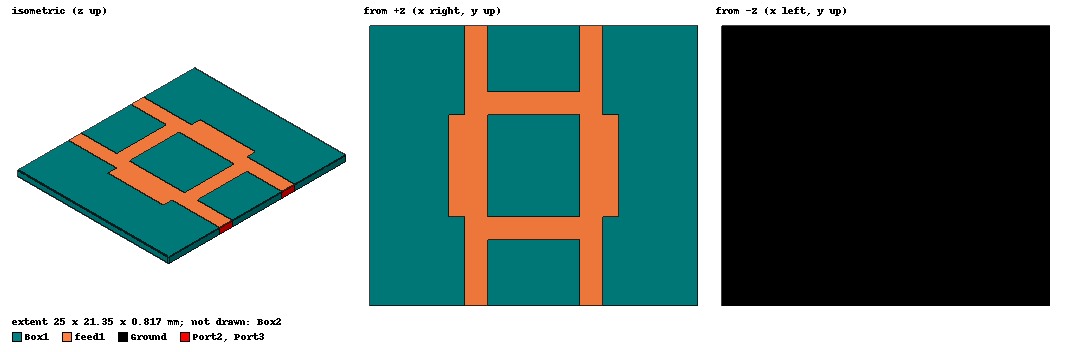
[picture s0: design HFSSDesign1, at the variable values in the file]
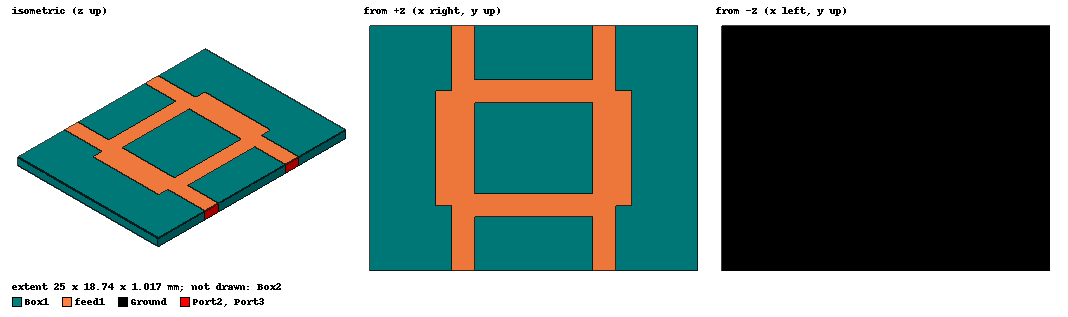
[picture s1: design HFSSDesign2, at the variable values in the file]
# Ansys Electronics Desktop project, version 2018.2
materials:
  vacuum: permittivity=1
  Rogers RO4003 (tm): permittivity=3.55 dielectric_loss_tangent=0.0027
  copper: permeability=0.999991 conductivity=58000000
  FR4_epoxy: permittivity=4.4 dielectric_loss_tangent=0.02
  pec: conductivity=1e+30
  air: permittivity=1.0006 permeability=1.0000004

design HFSSDesign1 (HFSS, DrivenModal, model units mm)
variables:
  Hybrid_W = 25mm
  Hybrid_L = 2*Hybrid_L_feed+2*Hybrid_W_50+Hybrid_L_35
  H = 0.8mm
  Hybrid_L_feed = 5mm
  Hybrid_W_50 = 1.7645mm
  Hybrid_W_35 = 2.985mm
  Hybrid_L_35 = 7.82mm
  Hybrid_L_50 = 7.05mm
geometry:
  Box1 [Rogers RO4003 (tm)] = box(corner=(0mm, 0mm, 0mm), size=(Hybrid_W, Hybrid_L, H))
  Ground [Rogers RO4003 (tm)] = object_from(Box1.face(-z))
  feed1 [copper] = rectangle(corner=(Hybrid_W/2-Hybrid_L_50/2, 0mm, H), x_size=-Hybrid_W_50, y_size=Hybrid_L_feed+Hybrid_W_50)
  feed2 = rectangle(corner=(Hybrid_W/2-Hybrid_L_50/2, Hybrid_L, H), x_size=-Hybrid_W_50, y_size=-Hybrid_L_feed-Hybrid_W_50)
  feed3 = rectangle(corner=(Hybrid_W/2+Hybrid_L_50/2, Hybrid_L, H), x_size=Hybrid_W_50, y_size=-Hybrid_L_feed-Hybrid_W_50)
  feed4 = rectangle(corner=(Hybrid_W/2+Hybrid_L_50/2, 0mm, H), x_size=Hybrid_W_50, y_size=Hybrid_L_feed+Hybrid_W_50)
  branch12 = rectangle(corner=(Hybrid_W/2-Hybrid_L_50/2, Hybrid_L_feed+Hybrid_W_50, H), x_size=-Hybrid_W_35, y_size=Hybrid_L_35)
  branch34 = rectangle(corner=(Hybrid_W/2+Hybrid_L_50/2, Hybrid_L_feed+Hybrid_W_50, H), x_size=Hybrid_W_35, y_size=Hybrid_L_35)
  branch41 = rectangle(corner=(Hybrid_W/2-Hybrid_L_50/2, Hybrid_L_feed, H), x_size=Hybrid_L_50, y_size=Hybrid_W_50)
  branch23 = rectangle(corner=(Hybrid_W/2-Hybrid_L_50/2, Hybrid_L_feed+Hybrid_L_35+Hybrid_W_50, H), x_size=Hybrid_L_50, y_size=Hybrid_W_50)
  Port1 = rectangle(corner=(Hybrid_W/2-Hybrid_L_50/2, 0mm, H), z_size=-H, x_size=-Hybrid_W_50)
  Port4 = rectangle(corner=(Hybrid_W/2+Hybrid_L_50/2, 0mm, H), z_size=-H, x_size=Hybrid_W_50)
  Port2 = rectangle(corner=(Hybrid_W/2-Hybrid_L_50/2, Hybrid_L, H), z_size=-H, x_size=-Hybrid_W_50)
  Port3 = rectangle(corner=(Hybrid_W/2+Hybrid_L_50/2, Hybrid_L, H), z_size=-H, x_size=Hybrid_W_50)
  Box2 [vacuum] = box(corner=(-10mm, -10mm, -10mm), size=(20mm+Hybrid_W, 20mm+Hybrid_L, 20mm))
  feed1.unite(feed2, feed3, feed4, branch12, branch23, branch34, branch41)
  feed1.thicken(-0.017mm)
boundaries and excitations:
  PerfE1: Perfect E Objects=Ground
  Rad1: Radiation Objects=Box2
  1: Lumped Port Objects=Port1 Modes{Mode1{IntLine{middle of Port1.edge(z opposite corner) -> middle of Port1.edge(z at corner)} CharImp=Zpi RenormImp=50ohm}} Impedance=50ohm
  4: Lumped Port Objects=Port4 Modes{Mode1{IntLine{middle of Port4.edge(z opposite corner) -> middle of Port4.edge(z at corner)} CharImp=Zpi RenormImp=50ohm}} Impedance=50ohm
  2: Lumped Port Objects=Port2 Modes{Mode1{IntLine{middle of Port2.edge(z opposite corner) -> middle of Port2.edge(z at corner)} CharImp=Zpi RenormImp=50ohm}} Impedance=50ohm
  3: Lumped Port Objects=Port3 Modes{Mode1{IntLine{middle of Port3.edge(z opposite corner) -> middle of Port3.edge(z at corner)} CharImp=Zpi RenormImp=50ohm}} Impedance=50ohm
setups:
  Setup1: HfssDriven Frequency=5GHz MaxDeltaS=0.02 MaximumPasses=12 MinimumPasses=1 MinimumConvergedPasses=1 PercentRefinement=30 BasisOrder=1 PortAccuracy=2
    sweep Sweep: 4GHz to 6GHz step 0.01GHz; Type=Fast SaveFields
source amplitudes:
  1:1: 1W 0deg
  4:1, 2:1, 3:1: 0W 0deg
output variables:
  PortGainDiff = dB(S(2,1))-dB(S(3,1))
  phase_diff = abs(ang_deg(S(2,1))-ang_deg(S(3,1))-pi/2)
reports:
  S-Parameters: dB(S(1,1)), dB(S(2,1)), dB(S(3,1)), dB(S(4,1)) vs Freq on Setup1 : Sweep; markers MX1 at x=5e+09, MY1 at y=-14
  Port Gain Difference: abs(PortGainDiff) vs Freq on Setup1 : Sweep; markers m1 at 5GHz, MY1 at y=0.5
  Phase Error: phase_diff vs Freq on Setup1 : Sweep; markers MY1 at y=0.0349066

design HFSSDesign2 (HFSS, DrivenModal, model units mm)
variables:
  Hybrid_W = 25mm
  Hybrid_L = 2*Hybrid_L_feed+Hybrid_L_35
  H = 1mm
  Hybrid_L_feed = 5mm
  Hybrid_W_50 = 1.7645mm
  Hybrid_W_35 = 2.98mm
  Hybrid_L_35 = 8.74mm
  Hybrid_L_50 = 8.95mm
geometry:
  Box1 [Rogers RO4003 (tm)] = box(corner=(0mm, 0mm, 0mm), size=(Hybrid_W, Hybrid_L, H))
  Ground [Rogers RO4003 (tm)] = object_from(Box1.face(-z))
  feed1 [copper] = rectangle(corner=(Hybrid_W/2-Hybrid_L_50/2, 0mm, H), x_size=-Hybrid_W_50, y_size=Hybrid_L_feed)
  feed2 = rectangle(corner=(Hybrid_W/2-Hybrid_L_50/2, Hybrid_L, H), x_size=-Hybrid_W_50, y_size=-Hybrid_L_feed)
  feed3 = rectangle(corner=(Hybrid_W/2+Hybrid_L_50/2, Hybrid_L, H), x_size=Hybrid_W_50, y_size=-Hybrid_L_feed)
  feed4 = rectangle(corner=(Hybrid_W/2+Hybrid_L_50/2, 0mm, H), x_size=Hybrid_W_50, y_size=Hybrid_L_feed)
  branch12 = rectangle(corner=(Hybrid_W/2-Hybrid_L_50/2, Hybrid_L_feed, H), x_size=-Hybrid_W_35, y_size=Hybrid_L_35)
  branch34 = rectangle(corner=(Hybrid_W/2+Hybrid_L_50/2, Hybrid_L_feed, H), x_size=Hybrid_W_35, y_size=Hybrid_L_35)
  branch41 = rectangle(corner=(Hybrid_W/2-Hybrid_L_50/2, Hybrid_L_feed-Hybrid_W_50/2, H), x_size=Hybrid_L_50, y_size=Hybrid_W_50)
  branch23 = rectangle(corner=(Hybrid_W/2-Hybrid_L_50/2, Hybrid_L_feed+Hybrid_L_35-Hybrid_W_50/2, H), x_size=Hybrid_L_50, y_size=Hybrid_W_50)
  Port1 = rectangle(corner=(Hybrid_W/2-Hybrid_L_50/2, 0mm, H), z_size=-H, x_size=-Hybrid_W_50)
  Port4 = rectangle(corner=(Hybrid_W/2+Hybrid_L_50/2, 0mm, H), z_size=-H, x_size=Hybrid_W_50)
  Port2 = rectangle(corner=(Hybrid_W/2-Hybrid_L_50/2, Hybrid_L, H), z_size=-H, x_size=-Hybrid_W_50)
  Port3 = rectangle(corner=(Hybrid_W/2+Hybrid_L_50/2, Hybrid_L, H), z_size=-H, x_size=Hybrid_W_50)
  Box2 [vacuum] = box(corner=(-10mm, -10mm, -10mm), size=(20mm+Hybrid_W, 20mm+Hybrid_L, 20mm))
  feed1.unite(feed2, feed3, feed4, branch12, branch23, branch34, branch41)
  feed1.thicken(-0.017mm)
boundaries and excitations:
  PerfE1: Perfect E Objects=Ground
  Rad1: Radiation Objects=Box2
  1: Lumped Port Objects=Port1 Modes{Mode1{IntLine{middle of Port1.edge(z opposite corner) -> middle of Port1.edge(z at corner)} CharImp=Zpi RenormImp=50ohm}} Impedance=50ohm
  4: Lumped Port Objects=Port4 Modes{Mode1{IntLine{middle of Port4.edge(z opposite corner) -> middle of Port4.edge(z at corner)} CharImp=Zpi RenormImp=50ohm}} Impedance=50ohm
  2: Lumped Port Objects=Port2 Modes{Mode1{IntLine{middle of Port2.edge(z opposite corner) -> middle of Port2.edge(z at corner)} CharImp=Zpi RenormImp=50ohm}} Impedance=50ohm
  3: Lumped Port Objects=Port3 Modes{Mode1{IntLine{middle of Port3.edge(z opposite corner) -> middle of Port3.edge(z at corner)} CharImp=Zpi RenormImp=50ohm}} Impedance=50ohm
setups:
  Setup1: HfssDriven Frequency=5GHz MaxDeltaS=0.02 MaximumPasses=12 MinimumPasses=1 MinimumConvergedPasses=1 PercentRefinement=30 BasisOrder=1 PortAccuracy=2
    sweep Sweep: 4GHz to 6GHz step 0.01GHz; Type=Fast SaveFields
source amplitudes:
  1:1: 1W 0deg
  4:1, 2:1, 3:1: 0W 0deg
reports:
  XY Plot 1: dB(S(1,1)), dB(S(2,1)), dB(S(3,1)), dB(S(4,1)) vs Freq on Setup1 : Sweep; markers MX1 at x=5.002681e+09

design Circuit1 (Circuit)
options: SParamCircuitDef IntegrationMethod=FFT
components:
  A273 = MS_TRL(W=1.76772mm P=5mm)
  A1 = MS_TRL(W=1.76772mm P=5mm)
  A3 = MS_TRL(W=1.76772mm P=5mm)
  A4 = MS_TRL(W=1.76772mm P=5mm)
  A6 = MS_TRL(W=1.76772mm P=8.95112mm)
  A9 = MS_TRL(W=1.76772mm P=8.95112mm)
  A285 = MS_TRL(W=2.98223mm P=8.73787mm)
  A10 = MS_TRL(W=2.98223mm P=8.73787mm)
  A306 = MSTEEE_NX(W1=1.76772mm W3=1.76772mm W2=2.98223mm)
  A307 = MSTEEE_NX(W2=1.76772mm W3=1.76772mm W1=2.98223mm)
  A308 = MSTEEE_NX(W2=1.76772mm W3=1.76772mm W1=2.98223mm)
  A2 = MSTEEE_NX(W1=1.76772mm W3=1.76772mm W2=2.98223mm)
  port Port1 pnum=1 rz=50ohm iz=0ohm noisetemp=16.85 noisetemporig=16.85cel
  port Port2 pnum=2 rz=50ohm iz=0ohm noisetemp=16.85 noisetemporig=16.85cel
  port Port3 pnum=3 rz=50ohm iz=0ohm noisetemp=16.85 noisetemporig=16.85cel
  port Port4 pnum=4 rz=50ohm iz=0ohm noisetemp=16.85 noisetemporig=16.85cel
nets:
  net_50: A306.0, A273.1
  net_51: A285.0, A306.1
  net_52: A6.1, A306.2
  net_53: A285.1, A307.0
  net_54: A1.0, A307.1
  net_55: A9.1, A307.2
  net_56: A10.0, A308.0
  net_57: A4.1, A308.1
  net_58: A6.0, A308.2
  net_59: A3.0, A2.0
  net_60: A10.1, A2.1
  net_61: A9.0, A2.2
  Port1: A273.0
  Port2: A1.1
  Port3: A3.1
  Port4: A4.0
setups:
  LinearFrequency: LinearFrequencyData(false, 0.1, false, "", false) SweepDefinition{Variable=F Data="LIN 3GHz 7GHz 0.005GHz"}
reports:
  S Parameter Plot 1: dB(S(Port1,Port1)), dB(S(Port2,Port1)), dB(S(Port3,Port1)), dB(S(Port4,Port1)) vs F on LinearFrequency : LinearFrequency; markers MX1 at x=4.4173442e+09

design Circuit2 (Circuit)
options: SParamCircuitDef IntegrationMethod=FFT
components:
  A273 = MS_TRL(W=1.76772mm P=5mm)
  A1 = MS_TRL(W=1.76772mm P=5mm)
  A3 = MS_TRL(W=1.76772mm P=5mm)
  A4 = MS_TRL(W=1.76772mm P=5mm)
  A6 = MS_TRL(W=1.76772mm P=8.95112mm)
  A285 = MS_TRL(W=2.98223mm P=8.73787mm)
  A10 = MS_TRL(W=2.98223mm P=8.73787mm)
  A313 = MS_TEEC(W1=1.76772mm W3=1.76772mm W2=2.98223mm)
  A314 = MS_TEEC(W2=1.76772mm W3=1.76772mm W1=2.98223mm)
  A315 = MS_TEEC(W2=1.76772mm W3=1.76772mm W1=2.98223mm)
  A2 = MS_TEEC(W3=1.76772mm W1=1.76772mm W2=2.98223mm)
  A5 = MS_TRL(W=1.76772mm P=8.95112mm)
  port Port1 pnum=1 rz=50ohm iz=0ohm noisetemp=16.85 noisetemporig=16.85cel
  port Port2 pnum=2 rz=50ohm iz=0ohm noisetemp=16.85 noisetemporig=16.85cel
  port Port3 pnum=3 rz=50ohm iz=0ohm noisetemp=16.85 noisetemporig=16.85cel
  port Port4 pnum=4 rz=50ohm iz=0ohm noisetemp=16.85 noisetemporig=16.85cel
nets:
  net_17: A314.0, A285.1
  net_18: A314.1, A1.0
  net_19: A5.1, A314.2
  net_20: A313.0, A273.1
  net_21: A313.1, A285.0
  net_22: A313.2, A6.1
  net_23: A315.0, A10.0
  net_24: A315.1, A4.1
  net_25: A315.2, A6.0
  net_26: A2.0, A3.0
  net_27: A2.1, A10.1
  net_28: A5.0, A2.2
  Port1: A273.0
  Port2: A1.1
  Port3: A3.1
  Port4: A4.0
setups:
  LinearFrequency: LinearFrequencyData(false, 0.1, false, "", false) SweepDefinition{Variable=F Data="LIN 3GHz 7GHz 0.005GHz"}
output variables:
  phase_diff = ang_deg(S(Port2,Port1))-ang_deg(S(Port3,Port1))
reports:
  S Parameter Plot 1: dB(S(Port1,Port1)), dB(S(Port2,Port1)), dB(S(Port3,Port1)), dB(S(Port4,Port1)) vs F on LinearFrequency : LinearFrequency; markers MX1 at x=4.9430894e+09, MY1 at y=-14
  Phase Difference Between Output Ports: phase_diff vs F on LinearFrequency : LinearFrequency; markers MX1 at x=5e+09
